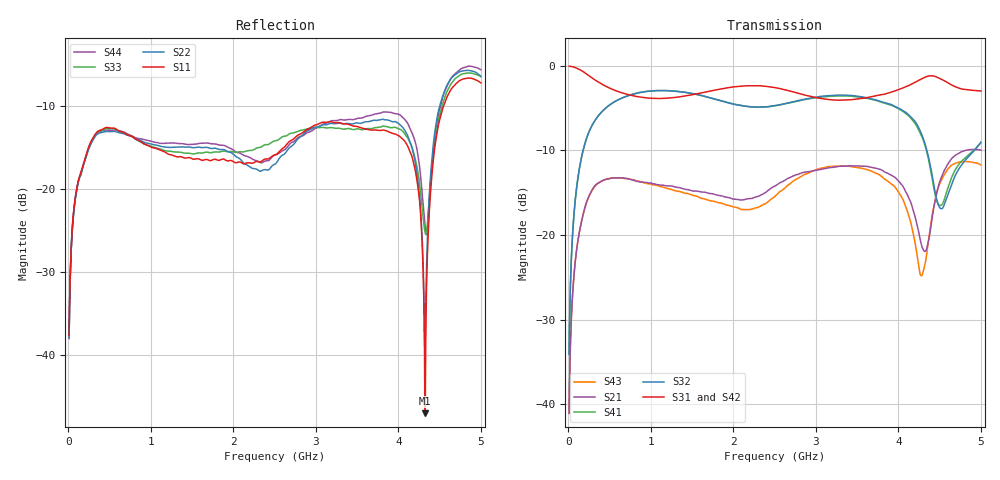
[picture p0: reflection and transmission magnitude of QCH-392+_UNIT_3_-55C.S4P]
!Mini-Circuits Laboratory
!S-Parameters
!Model: QCH-392+
!Run/Date Code: 1935
!DATA FOR: UNIT # 3
!Unit soldered on TB-863
!Freq	S11:SOLT4(ON)	S12:SOLT4(ON)	S13:SOLT4(ON)	S14:SOLT4(ON)
!	S21:SOLT4(ON)	S22:SOLT4(ON)	S23:SOLT4(ON)	S24:SOLT4(ON)
!	S31:SOLT4(ON)	S32:SOLT4(ON)	S33:SOLT4(ON)	S34:SOLT4(ON)
!	S41:SOLT4(ON)	S42:SOLT4(ON)	S43:SOLT4(ON)	S44:SOLT4(ON)
!PortZ  Port1:50+j0  Port2:50+j0  Port3:50+j0  Port4:50+j0
!Above PortZ is port z conversion or system Z0 setting when saving the data.
!Connection: PORT-1 - pin<1>;  PORT-2 - pin<2>;  PORT-3- pin<3>; PORT-4- pin<4>
!When reading, reference impedance value at option line is always used.
# Hz S RI R 50
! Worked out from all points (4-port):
!   1001 points, 10 MHz to 5 GHz, reference 50 ohm
!   strongest paths, dB at 10 MHz, 1.258 GHz, 2.505 GHz, 3.752 GHz, 5 GHz:
!     S31: -0.1, -3.8, -2.6, -3.5, -3.0
!     S42: -0.1, -3.8, -2.5, -3.7, -3.3
!     S32: -34.1, -3.0, -4.7, -4.1, -9.1
!     S41: -34.1, -3.0, -4.7, -4.2, -9.1
!     S21: -41.0, -14.2, -14.2, -12.2, -10.0
!     S43: -41.0, -14.6, -15.4, -12.8, -11.7
!   lowest |S11| = -47.1 dB at 4.321 GHz (marker M1), VSWR 1.01, Z = 50.1 - j0.437 ohm
!   |S11| at or under -10 dB: start of sweep to 4.55 GHz
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1e7  -0.0012 -0.013  0.000591 0.00884  0.9927 -0.0385  0.00092 0.0198
     0.000593 0.00884  -0.00139 -0.0126  0.000916 0.0198  0.9918 -0.0383
     0.9919 -0.0385  0.000916 0.0198  -0.0012 -0.0129  0.000574 0.00885
     0.000919 0.0198  0.9934 -0.0384  0.000576 0.00884  -0.00139 -0.0124
1.15271e9  0.0663 0.1539  -0.1871 -0.0614  -0.6405 -0.0279  -0.00339 -0.7126
           -0.187 -0.0612  0.0561 0.1694  0.00313 -0.7121  -0.637 -0.0256
           -0.64 -0.0277  0.00299 -0.7128  0.0563 0.1609  -0.1823 -0.0587
           -0.00336 -0.7123  -0.6377 -0.0256  -0.1824 -0.0586  0.0677 0.1744
2.3054e9  -0.0667 -0.1287  0.1228 0.1166  0.7591 0.0586  -0.0206 0.5688
          0.1233 0.1162  -0.0779 -0.1023  -0.0176 0.5675  0.7644 0.0653
          0.759 0.0588  -0.018 0.5683  -0.0787 -0.1583  0.0906 0.1145
          -0.0203 0.5688  0.7655 0.0658  0.0906 0.1147  -0.0646 -0.1301
2.91917e9  -0.0764 0.2171  0.1451 -0.1863  -0.061 -0.6584  0.6252 -0.133
           0.1457 -0.1866  -0.0605 0.2165  0.6248 -0.1415  -0.0665 -0.6614
           -0.0612 -0.6578  0.6253 -0.1414  -0.1342 0.1869  0.1873 -0.1394
           0.6245 -0.1332  -0.0664 -0.6622  0.1872 -0.1393  -0.1159 0.1859
4.002e9  0.2042 0.0423  -0.0466 0.2037  -0.1876 0.6969  -0.5261 -0.1806
         -0.0459 0.2029  0.239 0.0622  -0.5319 -0.1778  -0.1928 0.6811
         -0.1874 0.6964  -0.5326 -0.1785  0.2103 0.091  -0.066 0.1661
         -0.5258 -0.1805  -0.1936 0.6812  -0.0659 0.1666  0.2614 0.1022
4.32136e9  0.000793 -0.00436  0.0128 0.0792  0.5598 0.6452  -0.2962 0.1659
           0.0127 0.0791  0.00661 0.00776  -0.2988 0.177  0.5544 0.6465
           0.5592 0.6449  -0.2995 0.1768  0.0435 0.0343  -0.0321 0.0586
           -0.296 0.1656  0.5541 0.6474  -0.0321 0.0588  0.0562 0.0246
5e9  0.432 -0.0327  0.216 -0.2317  0.2084 -0.678  -0.3467 0.061
     0.2158 -0.232  0.4742 -0.0139  -0.3509 0.0406  0.232 -0.6426
     0.2078 -0.6773  -0.3504 0.0395  0.4695 0.0481  0.2311 -0.1181
     -0.3465 0.0607  0.2339 -0.6426  0.2311 -0.118  0.5128 0.085
